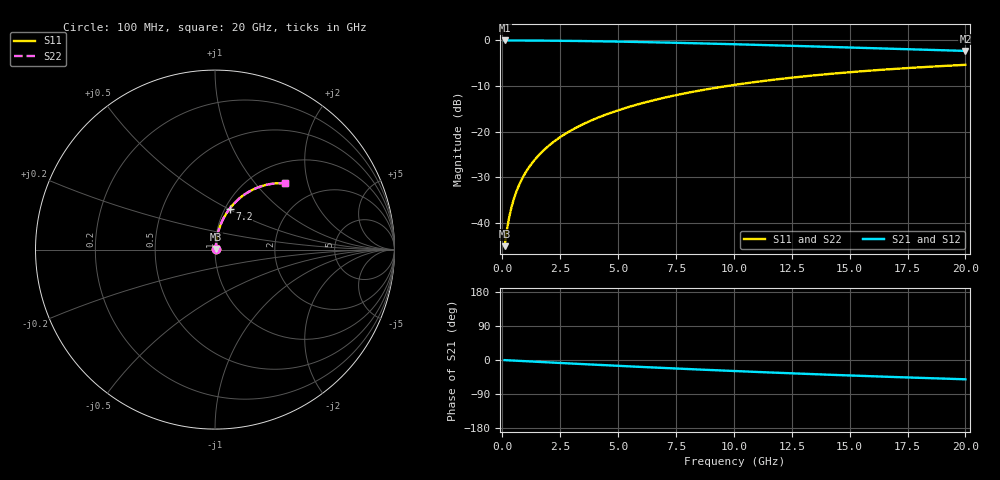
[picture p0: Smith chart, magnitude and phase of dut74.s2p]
! Touchstone file exported from HFSS 2024.1.0
!  File:  C:/UserFiles/LocalFiles/RDL_TSV_Batchsim/temp_RDL_bottom_74_1778694061.aedt
!  Generated:  01:43:31 AM May 14, 2026
!  Design:  RDL_bottom
!  Project:  temp_RDL_bottom_74_1778694061
!  Setup:  Setup1
!  Solution:  Sweep
! Variables:
!  dtsv = 10.80580581um
!  hbump = 3um
!  htsv = 74.04um
!  ldown = 664.82um
!  lrdl = 100um
!  p = 40
!  p1 = 58.64um
!  rhole = 1um
!  t = 450um
!  tdown = 4.19um
!  trdl = 3.915915916um
!  wdown = 13.51um
!  wrdl = 20um
# GHz S MA R 50.000000
! Terminal data exported
! Port[1] = RDL1_T1
! Port[2] = RDL1_T2
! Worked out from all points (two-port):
!   200 points, 100 MHz to 20 GHz, reference 50 ohm
!   highest |S21| = -0.04 dB at 100 MHz (marker M1); lowest = -2.3 dB at 20 GHz (marker M2)
!   |S21| within 3 dB of the highest: start of sweep to end of sweep
!   lowest |S11| = -45.1 dB at 100 MHz (marker M3), VSWR 1.01, Z = 50.4 + j0.362 ohm
!   |S11| at or under -10 dB: start of sweep to 9.732 GHz
!   |S22| runs from -45.1 to -5.4 dB; largest |S21 - S12| = 1.7e-15
!   S11 on the Smith chart (normalised r, x): 100 MHz: 1.01, +0.01; 7.2 GHz: 1.05, +0.51; 20 GHz: 1.40, +1.46
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0.1  0.005543 40.4  0.9958 -0.3  0.9958 -0.3  0.005543 40.4
! Gamma 0 0 0 0
! Port Impedance 50 0 50 0
0.2  0.00837 58.7  0.9957 -0.6  0.9957 -0.6  0.00837 58.7
0.3  0.01159 67.1  0.9955 -1.0  0.9955 -1.0  0.01159 67.1
0.4  0.01492 71.6  0.9953 -1.3  0.9953 -1.3  0.01492 71.6
0.5  0.01829 74.4  0.9952 -1.6  0.9952 -1.6  0.01829 74.4
0.6  0.02168 76.2  0.995 -1.9  0.995 -1.9  0.02168 76.2
0.8  0.02848 78.5  0.9945 -2.5  0.9945 -2.5  0.02848 78.5
1.1  0.03875 80.1  0.9938 -3.5  0.9938 -3.5  0.03875 80.1
1.5  0.05248 80.9  0.9925 -4.7  0.9925 -4.7  0.05248 80.8
1.8  0.06279 80.9  0.9913 -5.7  0.9913 -5.7  0.06279 80.9
2.1  0.07308 80.8  0.9899 -6.6  0.9899 -6.6  0.07308 80.7
2.7  0.09361 80.0  0.9865 -8.5  0.9865 -8.5  0.0936 80.0
3.5  0.1208 78.6  0.9809 -10.9  0.9809 -10.9  0.1208 78.6
4.2  0.1443 77.2  0.9751 -13.0  0.9751 -13.0  0.1443 77.2
5  0.1708 75.5  0.9676 -15.4  0.9676 -15.4  0.1708 75.4
6.8  0.2287 71.3  0.9476 -20.5  0.9476 -20.5  0.2286 71.3
7.2  0.2412 70.4  0.9428 -21.6  0.9428 -21.6  0.2411 70.4
8.6  0.2836 67.1  0.9248 -25.4  0.9248 -25.4  0.2835 67.1
10.1  0.3265 63.7  0.9043 -29.3  0.9043 -29.3  0.3264 63.6
13.4  0.4111 56.3  0.857 -37.3  0.857 -37.3  0.4109 56.3
16.7  0.4814 49.5  0.8096 -44.4  0.8096 -44.4  0.4811 49.5
20  0.5382 43.4  0.7647 -50.9  0.7647 -50.9  0.538 43.3
